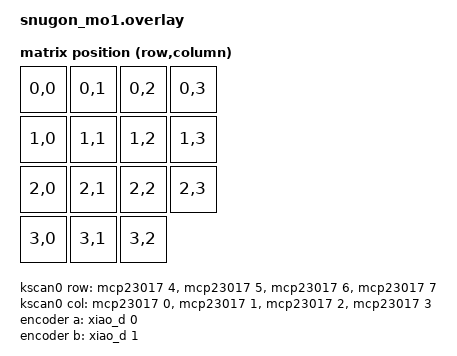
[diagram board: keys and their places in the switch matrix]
/*
 * Copyright (c) 2024 Shota Nishide
 * SPDX-License-Identifier: MIT
 */

#include <dt-bindings/zmk/matrix_transform.h>
#include <dt-bindings/led/led.h>

/ {
    chosen {
        zmk,kscan = &kscan0;
        zmk,matrix_transform = &default_transform;
        zmk,battery = &vbatt;
    };

    default_transform: keymap_transform_0 {
        compatible = "zmk,matrix-transform";
        columns = <4>;
        rows = <4>;
        // Map physical buttons to matrix positions
        // Layout: 12 buttons + 3 mouse buttons (via encoder switch and 2 main buttons)
        map = <
            RC(0,0) RC(0,1) RC(0,2) RC(0,3)
            RC(1,0) RC(1,1) RC(1,2) RC(1,3)
            RC(2,0) RC(2,1) RC(2,2) RC(2,3)
            RC(3,0) RC(3,1) RC(3,2)
        >;
    };

    kscan0: kscan {
        compatible = "zmk,kscan-gpio-matrix";
        diode-direction = "col2row";
        wakeup-source;

        col-gpios = <&mcp23017 0 GPIO_ACTIVE_HIGH>,
                    <&mcp23017 1 GPIO_ACTIVE_HIGH>,
                    <&mcp23017 2 GPIO_ACTIVE_HIGH>,
                    <&mcp23017 3 GPIO_ACTIVE_HIGH>;

        row-gpios = <&mcp23017 4 (GPIO_ACTIVE_HIGH | GPIO_PULL_DOWN)>,
                    <&mcp23017 5 (GPIO_ACTIVE_HIGH | GPIO_PULL_DOWN)>,
                    <&mcp23017 6 (GPIO_ACTIVE_HIGH | GPIO_PULL_DOWN)>,
                    <&mcp23017 7 (GPIO_ACTIVE_HIGH | GPIO_PULL_DOWN)>;
    };

    // Encoder for mouse wheel
    encoder: encoder {
        compatible = "alps,ec11";
        a-gpios = <&xiao_d 0 (GPIO_ACTIVE_HIGH | GPIO_PULL_UP)>;
        b-gpios = <&xiao_d 1 (GPIO_ACTIVE_HIGH | GPIO_PULL_UP)>;
        steps = <80>;
        status = "okay";
    };

    sensors: sensors {
        compatible = "zmk,keymap-sensors";
        sensors = <&encoder>;
        triggers-per-rotation = <20>;
    };

    // RGB LED placeholder - to be implemented later
    // battery_led: battery_led {
    //     compatible = "zmk,battery-led";
    //     io-gpios = <&xiao_d 6 GPIO_ACTIVE_HIGH>;  // D6 = P0.08
    // };

    // PMW3610 input listener
    pmw3610_listener {
        compatible = "zmk,input-listener";
        device = <&pmw3610>;
    };

    // Battery voltage divider
    vbatt: vbatt {
        compatible = "zmk,battery-voltage-divider";
        io-channels = <&adc 7>;
        output-ohms = <2000000>;
        full-ohms = <(2000000 + 806000)>;
    };
};

// I2C configuration for MCP23017
&xiao_i2c {
    status = "okay";
    
    mcp23017: mcp23017@20 {
        compatible = "microchip,mcp230xx";
        reg = <0x20>;
        gpio-controller;
        #gpio-cells = <2>;
        ngpios = <16>;
        status = "okay";
    };
};

// SPI configuration for PMW3610
&xiao_spi {
    status = "okay";
    cs-gpios = <&xiao_d 7 GPIO_ACTIVE_LOW>;
    
    pmw3610: pmw3610@0 {
        compatible = "pixart,pmw3610";
        reg = <0>;
        spi-max-frequency = <2000000>;
        irq-gpios = <&xiao_d 3 (GPIO_ACTIVE_LOW | GPIO_PULL_UP)>;
        status = "okay";
    };
};

// ADC for battery monitoring
&adc {
    status = "okay";
};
